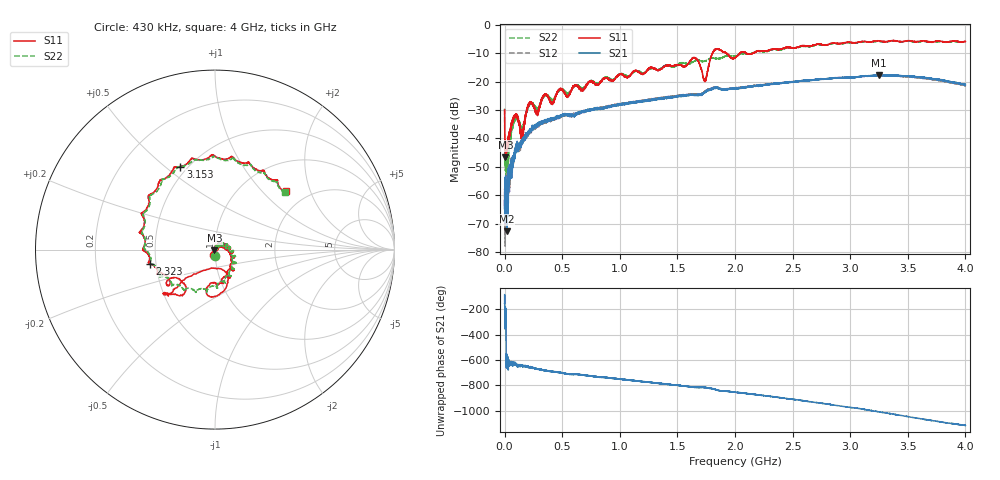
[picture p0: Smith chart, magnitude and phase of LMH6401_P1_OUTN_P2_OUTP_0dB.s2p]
!Keysight Technologies N9917A: A.08.18
!Date: Saturday, 27 May 2023 17:06:11
!Timezone: (GMT-07:00) Mountain Time (US & Canada)
!Model: N9917A
!Serial: MY52401314
!GPS Latitude:
!GPS Longitude:
!GPS TimeStamp: 0001-01-01 00:00:00Z
!GPS Seconds Since Last Read: 0
!CHECKSUM:0403965511
!Correction: S11(ON U)S21(ON U)S12(ON U)S22(ON U)
!S2P File: Measurements:S11,S21,S12,S22:
# Hz S DB R 50
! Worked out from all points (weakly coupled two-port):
!   10000 points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, 430 kHz to 4 GHz, reference 50 ohm
!   highest |S21| = -17.65 dB at 3.251 GHz (marker M1); lowest = -72.8 dB at 20.83 MHz (marker M2)
!   lowest |S11| = -46.7 dB at 8.03 MHz (marker M3), VSWR 1.01, Z = 49.6 - j0.285 ohm
!   |S11| at or under -10 dB: start of sweep to 1.805 GHz; 1.926 GHz to 2.042 GHz (115.8 MHz wide, 5.84 % of centre); 2.098 GHz to 2.155 GHz (56.74 MHz wide, 2.67 % of centre)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
!   |S22| runs from -52.9 to -5.6 dB; largest |S21 - S12| = 0.0079
!   S11 on the Smith chart (normalised r, x): 430 kHz: 0.99, -0.06; 2.323 GHz: 0.46, -0.08; 3.153 GHz: 0.46, +0.57; 4 GHz: 1.56, +1.37
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429997  -29.98 -101.9  -61.79 -151.6  -63.74 166.7  -29.54 -93.7
8029940  -46.73 -141.4  -57.09 133.4  -61.94 92.2  -46.67 -129.8
2.082984e7  -44.07 -90.2  -72.81 124.7  -58.68 118.4  -47.34 -100.4
8.522936e7  -32.64 49.3  -44.48 90.0  -45.68 84.5  -33.54 54.7
1.524289e8  -40.44 58.7  -40.76 70.1  -41.48 76.2  -36.66 58.5
2.180284e8  -27.32 46.6  -37.38 63.1  -37.54 63.9  -27.94 52.7
2.808279e8  -31.58 43.6  -36.09 51.4  -35.51 51.9  -29.55 49.1
3.496274e8  -24.51 33.4  -34.05 37.2  -34.56 40.0  -24.81 33.8
4.144269e8  -28.08 25.9  -33.09 29.0  -33.31 31.8  -26.44 30.8
4.800264e8  -22.92 18.4  -32.07 21.0  -32.42 25.0  -22.74 22.4
6.67225e8  -22.56 7.8  -30.46 4.4  -30.86 4.0  -22.28 7.3
1.33362e9  -16.03 -68.1  -26.14 -64.4  -25.98 -64.6  -15.71 -67.0
1.648018e9  -11.56 -92.4  -24.70 -94.8  -24.66 -94.8  -12.73 -101.2
1.738017e9  -19.56 -87.2  -23.95 -97.6  -23.61 -97.2  -12.75 -108.3
1.830416e9  -8.69 -137.6  -22.09 -112.7  -22.21 -113.6  -11.77 -115.4
2.000415e9  -11.60 -142.7  -22.45 -135.1  -22.25 -135.1  -10.96 -135.5
2.323213e9  -8.64 -167.8  -20.91 -169.5  -20.65 -171.2  -8.66 -167.4
2.66681e9  -7.35 157.4  -19.45 147.8  -19.48 147.4  -7.50 157.5
3.152806e9  -6.01 112.6  -18.00 84.4  -18.16 83.2  -6.06 111.5
3.250806e9  -5.66 103.5  -17.65 69.6  -17.82 68.3  -5.80 102.0
3.333605e9  -5.78 94.0  -17.88 57.8  -17.95 56.0  -5.88 93.1
4e9  -5.84 39.5  -20.98 -37.6  -21.32 -38.3  -5.89 39.4
